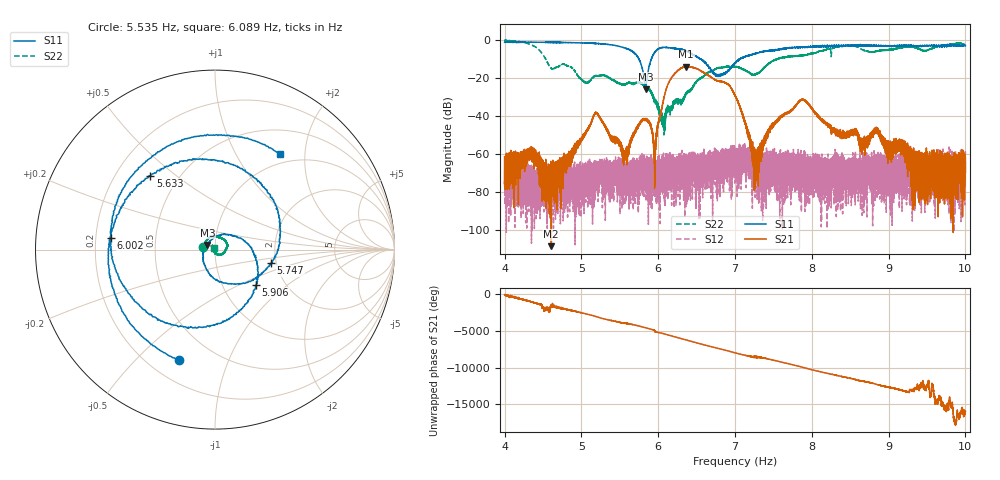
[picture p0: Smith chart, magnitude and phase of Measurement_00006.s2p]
!Created with skrf (http://scikit-rf.org).
# Hz S RI R 50.0
!freq ReS11 ImS11 ReS21 ImS21 ReS12 ImS12 ReS22 ImS22
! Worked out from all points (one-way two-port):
!   14001 points, 4 Hz to 10 Hz, reference 50 ohm
!   highest |S21| = -14.00 dB at 6.366 Hz (marker M1); lowest = -108.7 dB at 4.608 Hz (marker M2)
!   lowest |S11| = -26.0 dB at 5.835 Hz (marker M3), VSWR 1.11, Z = 45.8 + j2.38 ohm
!   |S11| at or under -10 dB: 5.749 Hz to 5.911 Hz (161 mHz wide, 2.76 % of centre); 6.558 Hz to 7.055 Hz (496.7 mHz wide, 7.3 % of centre); 7.055329 Hz to 7.058643 Hz (3.314 mHz wide, 0.047 % of centre) (the widest 3 of 12)
!   |S22| runs from -50.0 to -0.2 dB; largest |S21 - S12| = 0.2
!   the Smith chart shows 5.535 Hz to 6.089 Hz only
!   S11 on the Smith chart (normalised r, x): 5.535 Hz: 0.32, -0.68; 5.633 Hz: 0.35, +0.41; 5.747 Hz: 1.88, -0.31; 5.906 Hz: 1.44, -0.62; 6.002 Hz: 0.26, +0.05; 6.089 Hz: 0.85, +1.54
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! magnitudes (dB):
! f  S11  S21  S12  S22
! 4 Hz  -1.1  -61.6  -74.6  -0.3
! 4.336 Hz  -1.1  -59.2  -72.5  -2.3
! 4.608 Hz  -1.1  -108.7  -76.3  -14.9
! 5 Hz  -1.5  -52.7  -72.9  -20.9
! 5.198 Hz  -1.8  -38.3  -70.6  -18.8
! 5.535 Hz  -3.8  -58.6  -69.2  -23.5
! 5.633 Hz  -5.2  -54.3  -84.5  -22.5
! 5.747 Hz  -9.9  -45.0  -65.4  -22.5
! 5.835 Hz  -26.0  -41.9  -72.6  -24.7
! 5.906 Hz  -10.4  -46.4  -88.3  -27.1
! 5.954 Hz  -6.4  -67.9  -64.7  -31.6
! 6 Hz  -4.7  -44.2  -69.1  -35.5
! 6.002 Hz  -4.7  -44.4  -75.6  -36.1
! 6.089 Hz  -3.8  -28.0  -68.6  -39.1
! 6.366 Hz  -5.8  -14.0  -70.6  -28.1
! 6.772 Hz  -18.8  -21.5  -58.7  -14.7
! 7 Hz  -12.2  -29.2  -64.2  -14.0
! 7.276 Hz  -7.0  -66.1  -68.1  -17.6
! 7.582 Hz  -4.9  -41.2  -71.2  -9.6
! 8 Hz  -3.7  -35.9  -69.9  -6.9
! 9 Hz  -3.2  -57.5  -66.8  -5.0
! 10 Hz  -3.1  -64.8  -65.1  -3.1
